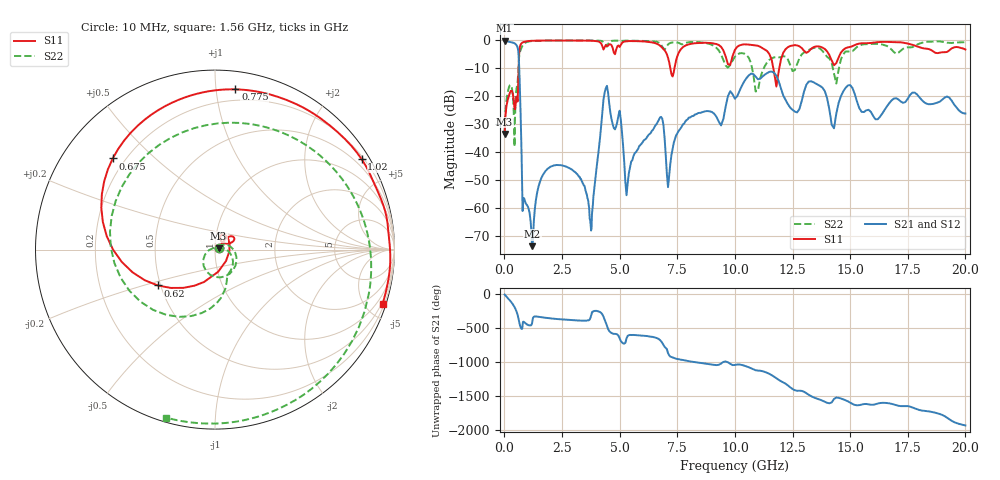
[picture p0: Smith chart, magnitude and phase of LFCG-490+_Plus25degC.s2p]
! Mini-Circuits
! S2P DATA File Format
! Type: LOW PASS FILTER
! Model: LFCG-490+
! All S Parameters are in dB deg format
! TEST CONDITIONS: INPUT POWER = 0 dBm @ Temperature = +25 deg C
# MHz S dB R 50
!Frequency  S11 dB  S11 DEG  S21 dB  S21 DEG  S12 dB  S12 DEG  S22 dB  S22 DEG
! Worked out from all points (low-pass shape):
!   460 points, 10 MHz to 20 GHz, reference 50 ohm
!   highest |S21| = -0.22 dB at 10 MHz (marker M1); lowest = -73.5 dB at 1.22 GHz (marker M2)
!   |S21| within 3 dB of the highest: start of sweep to 588.9 MHz
!   lowest |S11| = -33.5 dB at 10 MHz (marker M3), VSWR 1.04, Z = 52 + j0.83 ohm
!   |S11| at or under -10 dB: start of sweep to 614.1 MHz; 7.2 GHz to 7.381 GHz (180.7 MHz wide, 2.48 % of centre); 11.67 GHz to 11.93 GHz (259.6 MHz wide, 2.2 % of centre)
!   |S22| runs from -38.0 to -0.1 dB; largest |S21 - S12| = 0.0016
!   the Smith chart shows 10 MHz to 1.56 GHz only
!   S11 on the Smith chart (normalised r, x): 10 MHz: 1.04, +0.02; 620 MHz: 0.48, -0.22; 675 MHz: 0.15, +0.37; 775 MHz: 0.12, +1.13; 1.02 GHz: 0.27, +3.51; 1.56 GHz: 0.36, -6.25
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10  -33.51 22.2  -0.22 -3.8  -0.21 -3.7  -33.05 27.8
220  -19.23 41.9  -0.59 -82.6  -0.59 -82.6  -16.35 -48.3
400  -21.13 23.7  -0.99 -165.7  -0.98 -165.7  -24.15 -153.5
530  -20.13 57.3  -1.87 103.0  -1.86 103.0  -17.12 -47.6
620  -8.50 -147.9  -5.73 -13.4  -5.73 -13.4  -8.12 -109.5
675  -2.35 138.3  -17.64 -96.8  -17.64 -96.8  -4.21 153.9
775  -0.92 82.7  -54.25 -142.1  -54.24 -142.3  -2.17 45.3
1020  -0.35 31.6  -59.34 -92.0  -59.47 -92.2  -0.58 -47.7
1220  -0.24 8.8  -73.46 -23.4  -73.96 -26.5  -0.33 -78.3
1560  -0.16 -18.1  -50.09 24.0  -50.08 24.1  -0.22 -106.2
3360  -0.17 -90.3  -50.28 -30.2  -50.32 -30.1  -0.14 -151.9
3760  -0.22 -100.5  -67.89 44.9  -67.26 43.1  -0.14 -156.9
4400  -1.79 -107.7  -17.18 -54.7  -17.17 -54.7  -1.53 -168.1
5350  -0.38 -111.4  -50.99 106.2  -51.01 106.5  -0.17 -174.6
6700  -1.65 -162.8  -28.45 59.1  -28.44 58.9  -0.87 147.6
7100  -6.30 145.5  -52.42 -149.3  -52.36 -148.9  -1.57 153.3
7450  -7.22 -41.8  -33.95 129.7  -33.94 129.6  -0.79 135.8
9200  -1.41 -174.2  -27.32 35.3  -27.32 35.3  -2.79 36.0
10100  -2.39 -160.8  -19.99 44.0  -19.99 44.0  -5.12 136.8
13400  -2.56 150.0  -14.99 -78.1  -14.99 -78.2  -2.83 -161.0
16700  -0.67 118.6  -22.45 -169.3  -22.45 -169.4  -2.66 162.5
20000  -3.35 81.7  -26.19 -135.0  -26.19 -135.1  -0.74 -178.6
